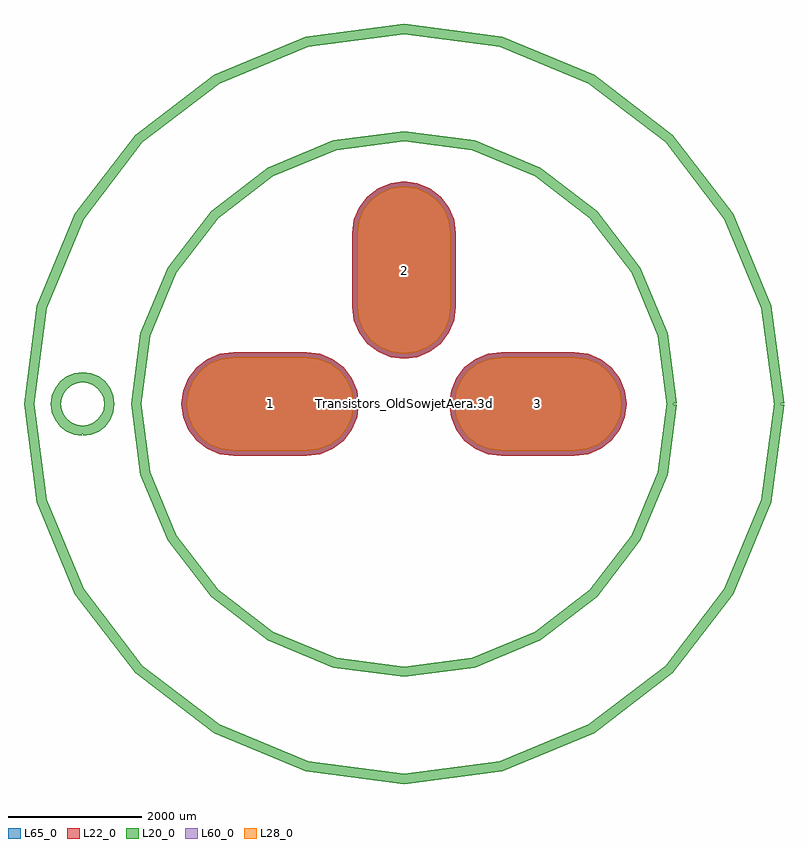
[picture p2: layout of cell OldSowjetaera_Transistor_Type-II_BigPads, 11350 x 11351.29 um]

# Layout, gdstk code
import gdstk
lib = gdstk.Library(unit=1e-6, precision=1e-09)
def P(c, l, *ps):  # polygons
    for p in ps: c.add(gdstk.Polygon(p, *l))
L20_0 = (20, 0)
L22_0 = (22, 0)
L28_0 = (28, 0)
L60_0 = (60, 0)
L65_0 = (65, 0)

oldsowjetaera_transistor = lib.new_cell('OldSowjetaera_Transistor_Type-II_BigPads')
P(oldsowjetaera_transistor, L22_0, [(1450,-775),(2550,-775),(2750.585,-748.593),(2937.5,-671.17),(3098.008,-548.008),(3221.17,-387.5),(3298.593,-200.585),(3325,0),(3298.593,200.585),(3221.17,387.5),(3098.008,548.008),(2937.5,671.17),(2750.585,748.593),(2550,775),(1450,775),(1249.415,748.593),(1062.5,671.17),(901.992,548.008),(778.83,387.5),(701.407,200.585),(675,0),(701.407,-200.585),(778.83,-387.5),(901.992,-548.008),(1062.5,-671.17),(1249.415,-748.593)],
  [(-2550,-775),(-1450,-775),(-1249.415,-748.593),(-1062.5,-671.17),(-901.992,-548.008),(-778.83,-387.5),(-701.407,-200.585),(-675,0),(-701.407,200.585),(-778.83,387.5),(-901.992,548.008),(-1062.5,671.17),(-1249.415,748.593),(-1450,775),(-2550,775),(-2750.585,748.593),(-2937.5,671.17),(-3098.008,548.008),(-3221.17,387.5),(-3298.593,200.585),(-3325,0),(-3298.593,-200.585),(-3221.17,-387.5),(-3098.008,-548.008),(-2937.5,-671.17),(-2750.585,-748.593)],
  [(0,675),(200.585,701.407),(387.5,778.83),(548.008,901.992),(671.17,1062.5),(748.593,1249.415),(775,1450),(775,2550),(748.593,2750.585),(671.17,2937.5),(548.008,3098.008),(387.5,3221.17),(200.585,3298.593),(0,3325),(-200.585,3298.593),(-387.5,3221.17),(-548.008,3098.008),(-671.17,2937.5),(-748.593,2750.585),(-775,2550),(-775,1450),(-748.593,1249.415),(-671.17,1062.5),(-548.008,901.992),(-387.5,778.83),(-200.585,701.407)])
P(oldsowjetaera_transistor, L28_0, [(1450,-700),(2550,-700),(2731.173,-676.148),(2900,-606.218),(3044.975,-494.975),(3156.218,-350),(3226.148,-181.173),(3250,0),(3226.148,181.173),(3156.218,350),(3044.975,494.975),(2900,606.218),(2731.173,676.148),(2550,700),(1450,700),(1268.827,676.148),(1100,606.218),(955.025,494.975),(843.782,350),(773.852,181.173),(750,0),(773.852,-181.173),(843.782,-350),(955.025,-494.975),(1100,-606.218),(1268.827,-676.148)],
  [(-2550,-700),(-1450,-700),(-1268.827,-676.148),(-1100,-606.218),(-955.025,-494.975),(-843.782,-350),(-773.852,-181.173),(-750,0),(-773.852,181.173),(-843.782,350),(-955.025,494.975),(-1100,606.218),(-1268.827,676.148),(-1450,700),(-2550,700),(-2731.173,676.148),(-2900,606.218),(-3044.975,494.975),(-3156.218,350),(-3226.148,181.173),(-3250,0),(-3226.148,-181.173),(-3156.218,-350),(-3044.975,-494.975),(-2900,-606.218),(-2731.173,-676.148)],
  [(0,750),(181.173,773.852),(350,843.782),(494.975,955.025),(606.218,1100),(676.148,1268.827),(700,1450),(700,2550),(676.148,2731.173),(606.218,2900),(494.975,3044.975),(350,3156.218),(181.173,3226.148),(0,3250),(-181.173,3226.148),(-350,3156.218),(-494.975,3044.975),(-606.218,2900),(-676.148,2731.173),(-700,2550),(-700,1450),(-676.148,1268.827),(-606.218,1100),(-494.975,955.025),(-350,843.782),(-181.173,773.852)])
P(oldsowjetaera_transistor, L60_0, [(1450,-700),(2550,-700),(2731.173,-676.148),(2900,-606.218),(3044.975,-494.975),(3156.218,-350),(3226.148,-181.173),(3250,0),(3226.148,181.173),(3156.218,350),(3044.975,494.975),(2900,606.218),(2731.173,676.148),(2550,700),(1450,700),(1268.827,676.148),(1100,606.218),(955.025,494.975),(843.782,350),(773.852,181.173),(750,0),(773.852,-181.173),(843.782,-350),(955.025,-494.975),(1100,-606.218),(1268.827,-676.148)],
  [(-2550,-700),(-1450,-700),(-1268.827,-676.148),(-1100,-606.218),(-955.025,-494.975),(-843.782,-350),(-773.852,-181.173),(-750,0),(-773.852,181.173),(-843.782,350),(-955.025,494.975),(-1100,606.218),(-1268.827,676.148),(-1450,700),(-2550,700),(-2731.173,676.148),(-2900,606.218),(-3044.975,494.975),(-3156.218,350),(-3226.148,181.173),(-3250,0),(-3226.148,-181.173),(-3156.218,-350),(-3044.975,-494.975),(-2900,-606.218),(-2731.173,-676.148)],
  [(0,750),(181.173,773.852),(350,843.782),(494.975,955.025),(606.218,1100),(676.148,1268.827),(700,1450),(700,2550),(676.148,2731.173),(606.218,2900),(494.975,3044.975),(350,3156.218),(181.173,3226.148),(0,3250),(-181.173,3226.148),(-350,3156.218),(-494.975,3044.975),(-606.218,2900),(-676.148,2731.173),(-700,2550),(-700,1450),(-676.148,1268.827),(-606.218,1100),(-494.975,955.025),(-350,843.782),(-181.173,773.852)])
P(oldsowjetaera_transistor, L65_0, [(1450,-775),(2550,-775),(2750.585,-748.593),(2937.5,-671.17),(3098.008,-548.008),(3221.17,-387.5),(3298.593,-200.585),(3325,0),(3298.593,200.585),(3221.17,387.5),(3098.008,548.008),(2937.5,671.17),(2750.585,748.593),(2550,775),(1450,775),(1249.415,748.593),(1062.5,671.17),(901.992,548.008),(778.83,387.5),(701.407,200.585),(675,0),(701.407,-200.585),(778.83,-387.5),(901.992,-548.008),(1062.5,-671.17),(1249.415,-748.593)],
  [(-2550,-775),(-1450,-775),(-1249.415,-748.593),(-1062.5,-671.17),(-901.992,-548.008),(-778.83,-387.5),(-701.407,-200.585),(-675,0),(-701.407,200.585),(-778.83,387.5),(-901.992,548.008),(-1062.5,671.17),(-1249.415,748.593),(-1450,775),(-2550,775),(-2750.585,748.593),(-2937.5,671.17),(-3098.008,548.008),(-3221.17,387.5),(-3298.593,200.585),(-3325,0),(-3298.593,-200.585),(-3221.17,-387.5),(-3098.008,-548.008),(-2937.5,-671.17),(-2750.585,-748.593)],
  [(0,675),(200.585,701.407),(387.5,778.83),(548.008,901.992),(671.17,1062.5),(748.593,1249.415),(775,1450),(775,2550),(748.593,2750.585),(671.17,2937.5),(548.008,3098.008),(387.5,3221.17),(200.585,3298.593),(0,3325),(-200.585,3298.593),(-387.5,3221.17),(-548.008,3098.008),(-671.17,2937.5),(-748.593,2750.585),(-775,2550),(-775,1450),(-748.593,1249.415),(-671.17,1062.5),(-548.008,901.992),(-387.5,778.83),(-200.585,701.407)])
oldsowjetaera_transistor.add(gdstk.FlexPath([(5600,0),(5409.185,1449.387),(4849.742,2800),(3959.798,3959.798),(2800,4849.742),(1449.387,5409.185),(0,5600),(-1449.387,5409.185),(-2800,4849.742),(-3959.798,3959.798),(-4849.742,2800),(-5409.185,1449.387),(-5600,0),(-5409.185,-1449.387),(-4849.742,-2800),(-3959.798,-3959.798),(-2800,-4849.742),(-1449.387,-5409.185),(0,-5600),(1449.387,-5409.185),(2800,-4849.742),(3959.798,-3959.798),(4849.742,-2800),(5409.185,-1449.387),(5600,0)], 149.998, ends="flush", simple_path=True, layer=20, datatype=0))  # L20_0
oldsowjetaera_transistor.add(gdstk.FlexPath([(4000,0),(3863.703,1035.276),(3464.102,2000),(2828.427,2828.427),(2000,3464.102),(1035.276,3863.703),(0,4000),(-1035.276,3863.703),(-2000,3464.102),(-2828.427,2828.427),(-3464.102,2000),(-3863.703,1035.276),(-4000,0),(-3863.703,-1035.276),(-3464.102,-2000),(-2828.427,-2828.427),(-2000,-3464.102),(-1035.276,-3863.703),(0,-4000),(1035.276,-3863.703),(2000,-3464.102),(2828.427,-2828.427),(3464.102,-2000),(3863.703,-1035.276),(4000,0)], 149.998, ends="flush", simple_path=True, layer=20, datatype=0))  # L20_0
oldsowjetaera_transistor.add(gdstk.FlexPath([(-4800,-400),(-4696.472,-386.37),(-4600,-346.41),(-4517.157,-282.843),(-4453.59,-200),(-4413.63,-103.528),(-4400,0),(-4413.63,103.528),(-4453.59,200),(-4517.157,282.843),(-4600,346.41),(-4696.472,386.37),(-4800,400),(-4903.528,386.37),(-5000,346.41),(-5082.843,282.843),(-5146.41,200),(-5186.37,103.528),(-5200,0),(-5186.37,-103.528),(-5146.41,-200),(-5082.843,-282.843),(-5000,-346.41),(-4903.528,-386.37),(-4800,-400)], 149.998, ends="flush", simple_path=True, layer=20, datatype=0))  # L20_0
oldsowjetaera_transistor.add(gdstk.Label('Transistors_OldSowjetAera.3dshapes/OldSowjetaera_Transistor_Type-II_BigPads.wrl', (0,0), layer=12, texttype=0))
oldsowjetaera_transistor.add(gdstk.Label('3', (2000,0), layer=28, texttype=0))
oldsowjetaera_transistor.add(gdstk.Label('1', (-2000,0), layer=28, texttype=0))
oldsowjetaera_transistor.add(gdstk.Label('2', (0,2000), layer=28, texttype=0))
oldsowjetaera_transistor.add(gdstk.Label('type', (100,-7600), layer=9, texttype=0))
oldsowjetaera_transistor.add(gdstk.Label('devicename', (100,8100), layer=9, texttype=0))

lib.write_gds('OldSowjetaera_Transistor_Type-II_BigPads.gds')
